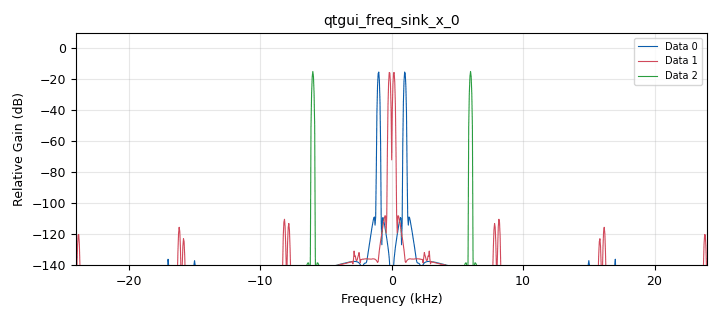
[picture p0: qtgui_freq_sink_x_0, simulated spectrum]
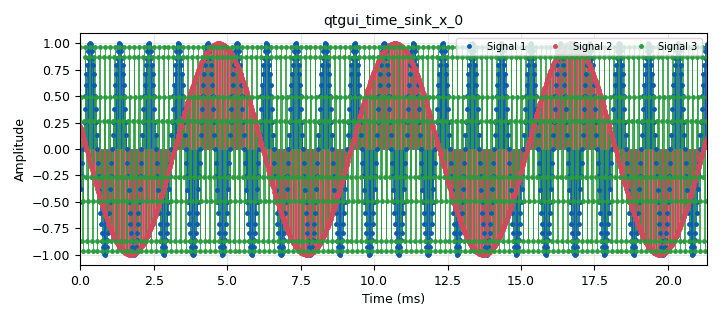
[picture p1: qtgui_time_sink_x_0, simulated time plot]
options:
  parameters:
    author: Valeria Y Jorge
    copyright: UIS
    generate_options: qt_gui
    id: decint
    output_language: python
    title: Interpolacion y decimacion
  states: {}

blocks:
- name: samp_rate
  id: variable
  parameters:
    value: 48e3
  states: {}
- name: analog_sig_source_x_0
  id: analog_sig_source_x
  parameters:
    amp: '1'
    freq: '1000'
    offset: '0'
    phase: '0'
    samp_rate: samp_rate
    type: float
    waveform: analog.GR_COS_WAVE
  states: {}
- name: analog_sig_source_x_1
  id: analog_sig_source_x
  parameters:
    amp: '1'
    freq: '1000'
    offset: '0'
    phase: '0'
    samp_rate: samp_rate
    type: float
    waveform: analog.GR_COS_WAVE
  states: {}
- name: analog_sig_source_x_2
  id: analog_sig_source_x
  parameters:
    amp: '1'
    freq: '1000'
    offset: '0'
    phase: '0'
    samp_rate: samp_rate
    type: float
    waveform: analog.GR_COS_WAVE
  states: {}
- name: blocks_throttle_0
  id: blocks_throttle
  parameters:
    samples_per_second: samp_rate
    type: float
  states: {}
- name: qtgui_freq_sink_x_0
  id: qtgui_freq_sink_x
  parameters:
    average: '0.05'
    bw: samp_rate
    fc: '0'
    fftsize: '1024'
    nconnections: '3'
    type: float
  states: {}
- name: qtgui_time_sink_x_0
  id: qtgui_time_sink_x
  parameters:
    autoscale: 'True'
    nconnections: '3'
    size: '1024'
    srate: samp_rate
    stemplot: 'True'
    style1: '0'
    type: float
  states: {}
- name: rational_resampler_xxx_0
  id: rational_resampler_xxx
  parameters:
    decim: '1'
    interp: '6'
    type: fff
  states: {}
- name: rational_resampler_xxx_0_0
  id: rational_resampler_xxx
  parameters:
    decim: '1'
    interp: '1'
    type: fff
  states: {}
- name: rational_resampler_xxx_0_1
  id: rational_resampler_xxx
  parameters:
    decim: '6'
    interp: '1'
    type: fff
  states: {}

connections:
- [analog_sig_source_x_0, '0', rational_resampler_xxx_0_0, '0']
- [analog_sig_source_x_1, '0', rational_resampler_xxx_0, '0']
- [analog_sig_source_x_2, '0', rational_resampler_xxx_0_1, '0']
- [blocks_throttle_0, '0', qtgui_freq_sink_x_0, '0']
- [blocks_throttle_0, '0', qtgui_time_sink_x_0, '0']
- [rational_resampler_xxx_0, '0', qtgui_freq_sink_x_0, '1']
- [rational_resampler_xxx_0, '0', qtgui_time_sink_x_0, '1']
- [rational_resampler_xxx_0_0, '0', blocks_throttle_0, '0']
- [rational_resampler_xxx_0_1, '0', qtgui_freq_sink_x_0, '2']
- [rational_resampler_xxx_0_1, '0', qtgui_time_sink_x_0, '2']

metadata:
  file_format: 1
